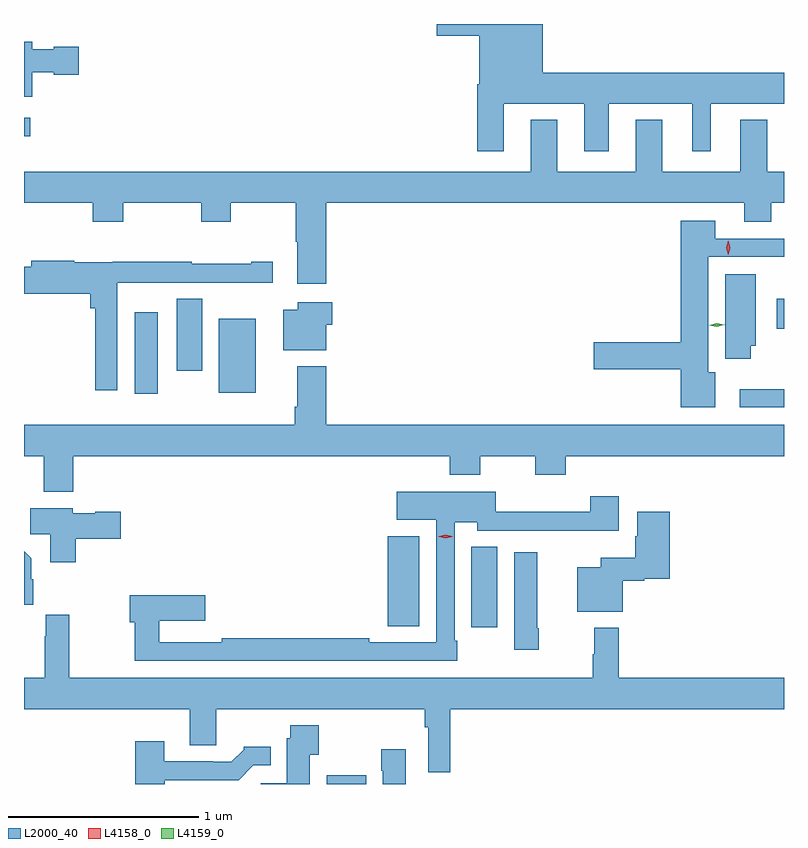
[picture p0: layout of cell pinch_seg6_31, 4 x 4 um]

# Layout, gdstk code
import gdstk
lib = gdstk.Library(unit=1e-6, precision=1e-09)
def R(c, l, rs):  # rectangles x0, y0, x1, y1
    for r in rs: c.add(gdstk.rectangle(r[:2], r[2:], *l))
def P(c, l, *ps):  # polygons
    for p in ps: c.add(gdstk.Polygon(p, *l))
L2000_40 = (2000, 40)
L4158_0 = (4158, 0)
L4159_0 = (4159, 0)

pinch_seg6_31 = lib.new_cell('pinch_seg6_31')
R(pinch_seg6_31, L2000_40, [(971.568,958.93,971.776,958.977), (972.329,959.754,972.466,960.179), (971.888,959.761,972.055,960.235), (973.74,960.912,973.974,961.008), (970.556,960.984,970.678,961.414), (971,960.989,971.194,961.378), (970.778,961.104,970.912,961.484), (973.935,961.325,973.974,961.483), (969.974,962.339,970.006,962.436)])
P(pinch_seg6_31, L2000_40, [(972.499,962.51),(972.923,962.51),(972.923,962.259),(973.051,962.259),(973.051,962.51),(973.49,962.51),(973.49,962.259),(973.588,962.259),(973.588,962.51),(973.974,962.51),(973.974,962.674),(972.703,962.674),(972.703,962.93),(972.147,962.93),(972.147,962.867),(972.371,962.867),(972.371,962.614),(972.359,962.614),(972.359,962.259),(972.499,962.259)],
  [(970.018,962.675),(970.131,962.675),(970.131,962.663),(970.261,962.663),(970.261,962.81),(970.131,962.81),(970.131,962.797),(970.018,962.797),(970.018,962.836),(969.974,962.836),(969.974,962.546),(970.018,962.546)],
  [(973.766,961.889),(973.906,961.889),(973.906,961.988),(973.974,961.988),(973.974,962.152),(973.885,962.152),(973.885,962.425),(973.745,962.425),(973.745,962.152),(973.333,962.152),(973.333,962.425),(973.193,962.425),(973.193,962.152),(972.781,962.152),(972.781,962.425),(972.641,962.425),(972.641,962.152),(969.974,962.152),(969.974,961.988),(970.337,961.988),(970.337,961.889),(970.497,961.889),(970.497,961.988),(970.906,961.988),(970.906,961.889),(971.061,961.889),(971.061,961.988),(971.404,961.988),(971.404,961.784),(971.411,961.784),(971.411,961.563),(971.564,961.563),(971.564,961.988),(973.766,961.988)],
  [(973.612,961.096),(973.576,961.096),(973.576,961.704),(973.974,961.704),(973.974,961.8),(973.612,961.8),(973.612,961.894),(973.43,961.894),(973.43,961.256),(972.972,961.256),(972.972,961.114),(973.43,961.114),(973.43,960.914),(973.612,960.914)],
  [(970.464,961.568),(970.674,961.568),(970.674,961.569),(971.008,961.569),(971.008,961.568),(971.284,961.568),(971.284,961.678),(971.171,961.678),(971.171,961.668),(970.856,961.668),(970.856,961.678),(970.44,961.678),(970.44,961.675),(970.238,961.675),(970.238,961.683),(970.013,961.683),(970.013,961.653),(969.974,961.653),(969.974,961.511),(970.322,961.511),(970.322,961.433),(970.348,961.433),(970.348,961.002),(970.464,961.002)],
  [(973.798,961.236),(973.825,961.236),(973.825,961.612),(973.664,961.612),(973.664,961.167),(973.798,961.167)],
  [(971.566,961.347),(971.597,961.347),(971.597,961.465),(971.414,961.465),(971.414,961.426),(971.339,961.426),(971.339,961.214),(971.566,961.214)],
  [(970.232,960.656),(972.215,960.656),(972.215,960.557),(972.375,960.557),(972.375,960.656),(972.664,960.656),(972.664,960.557),(972.824,960.557),(972.824,960.656),(973.974,960.656),(973.974,960.82),(971.564,960.82),(971.564,961.129),(971.411,961.129),(971.411,960.916),(971.399,960.916),(971.399,960.82),(969.974,960.82),(969.974,960.656),(970.079,960.656),(970.079,960.467),(970.232,960.467)],
  [(972.253,959.683),(972.24,959.683),(972.24,960.308),(972.36,960.308),(972.36,960.264),(972.869,960.264),(972.869,960.263),(973.105,960.263),(973.105,960.445),(972.953,960.445),(972.953,960.362),(972.456,960.362),(972.456,960.469),(971.937,960.469),(971.937,960.32),(972.144,960.32),(972.144,959.676),(971.792,959.676),(971.792,959.696),(971.014,959.696),(971.014,959.676),(970.685,959.676),(970.685,959.789),(970.927,959.789),(970.927,959.924),(970.531,959.924),(970.531,959.782),(970.557,959.782),(970.557,959.58),(972.253,959.58)],
  [(970.247,960.221),(970.483,960.221),(970.483,960.363),(970.35,960.363),(970.35,960.355),(970.23,960.355),(970.23,960.382),(970.007,960.382),(970.007,960.244),(970.112,960.244),(970.112,960.096),(970.247,960.096)],
  [(973.126,959.999),(973.239,959.999),(973.239,960.011),(973.373,960.011),(973.373,960.364),(973.202,960.364),(973.202,960.234),(973.19,960.234),(973.19,960.121),(973.01,960.121),(973.01,960.07),(972.887,960.07),(972.887,959.837),(973.126,959.837)],
  [(970.022,960.008),(970.012,960.008),(970.012,960.118),(969.974,960.156),(969.974,959.874),(970.022,959.874)],
  [(972.684,959.749),(972.676,959.749),(972.676,960.151),(972.554,960.151),(972.554,959.637),(972.684,959.637)],
  [(972.218,959.324),(973.974,959.324),(973.974,959.488),(973.103,959.488),(973.103,959.752),(972.975,959.752),(972.975,959.612),(972.967,959.612),(972.967,959.488),(970.213,959.488),(970.213,959.821),(970.088,959.821),(970.088,959.708),(970.084,959.708),(970.084,959.488),(969.974,959.488),(969.974,959.324),(970.847,959.324),(970.847,959.134),(970.987,959.134),(970.987,959.324),(972.082,959.324),(972.082,959.228),(972.102,959.228),(972.102,958.992),(972.218,958.992)],
  [(971.479,959.083),(971.526,959.083),(971.526,959.239),(971.374,959.239),(971.374,959.172),(971.357,959.172),(971.357,958.935),(971.219,958.935),(971.219,958.93),(971.479,958.93)],
  [(970.714,958.95),(971.103,958.95),(971.181,959.028),(971.272,959.028),(971.272,959.125),(971.13,959.125),(971.13,959.11),(971.066,959.046),(970.967,959.046),(970.967,959.049),(970.711,959.049),(970.711,959.155),(970.559,959.155),(970.559,958.93),(970.714,958.93)],
  [(971.983,959.113),(971.854,959.113),(971.854,959),(971.861,959),(971.861,958.93),(971.983,958.93)])
P(pinch_seg6_31, L4158_0, [(973.68,961.716),(973.68,961.716),(973.671,961.752),(973.681,961.788),(973.681,961.788),(973.681,961.788),(973.691,961.752),(973.68,961.716)],
  [(972.193,960.223),(972.158,960.232),(972.158,960.233),(972.158,960.233),(972.193,960.243),(972.228,960.233),(972.228,960.233),(972.228,960.232)])
P(pinch_seg6_31, L4159_0, [(973.62,961.336),(973.58,961.345),(973.579,961.345),(973.58,961.345),(973.62,961.356),(973.66,961.347),(973.661,961.346),(973.66,961.346)])

lib.write_gds('pinch_seg6_31.gds')
